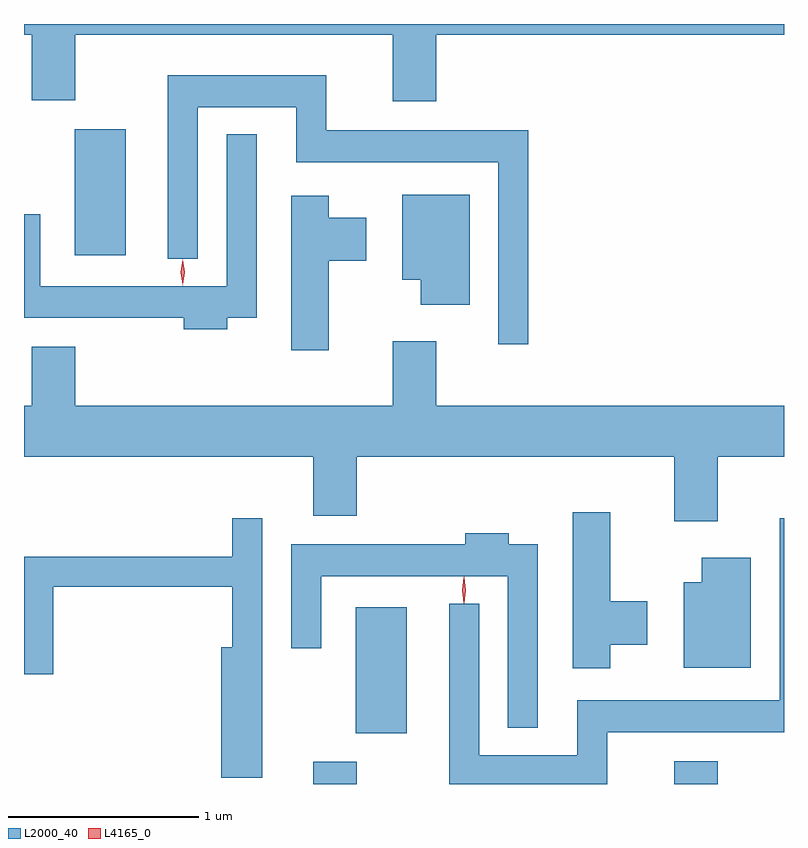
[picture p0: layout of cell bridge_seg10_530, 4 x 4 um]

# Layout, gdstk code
import gdstk
lib = gdstk.Library(unit=1e-6, precision=1e-09)
def R(c, l, rs):  # rectangles x0, y0, x1, y1
    for r in rs: c.add(gdstk.rectangle(r[:2], r[2:], *l))
def P(c, l, *ps):  # polygons
    for p in ps: c.add(gdstk.Polygon(p, *l))
L2000_40 = (2000, 40)
L4165_0 = (4165, 0)

bridge_seg10_530 = lib.new_cell('bridge_seg10_530')
R(bridge_seg10_530, L2000_40, [(768.191,2189.893,768.419,2190.009), (770.091,2189.893,770.319,2190.014), (768.416,2190.161,768.684,2190.824), (766.936,2192.676,767.204,2193.339)])
P(bridge_seg10_530, L2000_40, [(768.839,2193.836),(770.669,2193.836),(770.669,2193.893),(766.669,2193.893),(766.669,2193.836),(766.711,2193.836),(766.711,2193.491),(766.939,2193.491),(766.939,2193.836),(768.611,2193.836),(768.611,2193.486),(768.839,2193.486)],
  [(769.324,2193.334),(768.259,2193.334),(768.259,2193.624),(767.426,2193.624),(767.426,2192.658),(767.584,2192.658),(767.584,2193.456),(768.101,2193.456),(768.101,2193.166),(769.166,2193.166),(769.166,2192.208),(769.324,2192.208)],
  [(767.739,2192.346),(767.894,2192.346),(767.894,2193.313),(767.736,2193.313),(767.736,2192.514),(766.754,2192.514),(766.754,2192.893),(766.669,2192.893),(766.669,2192.346),(767.511,2192.346),(767.511,2192.286),(767.739,2192.286)],
  [(769.014,2192.994),(768.661,2192.994),(768.661,2192.546),(768.756,2192.546),(768.756,2192.416),(769.014,2192.416)],
  [(768.274,2192.646),(768.469,2192.646),(768.469,2192.874),(768.274,2192.874),(768.274,2192.989),(768.076,2192.989),(768.076,2192.176),(768.274,2192.176)],
  [(770.319,2191.616),(770.669,2191.616),(770.669,2191.884),(768.839,2191.884),(768.839,2192.224),(768.611,2192.224),(768.611,2191.884),(766.939,2191.884),(766.939,2192.194),(766.711,2192.194),(766.711,2191.884),(766.669,2191.884),(766.669,2191.616),(768.191,2191.616),(768.191,2191.306),(768.419,2191.306),(768.419,2191.616),(770.091,2191.616),(770.091,2191.276),(770.319,2191.276)],
  [(769.754,2190.626),(769.949,2190.626),(769.949,2190.854),(769.754,2190.854),(769.754,2191.324),(769.556,2191.324),(769.556,2190.501),(769.754,2190.501)],
  [(767.924,2191.293),(767.766,2191.293),(767.766,2191.089),(766.669,2191.089),(766.669,2190.471),(766.824,2190.471),(766.824,2190.931),(767.766,2190.931),(767.766,2190.614),(767.706,2190.614),(767.706,2189.926),(767.924,2189.926)],
  [(769.739,2190.166),(770.669,2190.166),(770.669,2191.293),(770.646,2191.293),(770.646,2190.334),(769.581,2190.334),(769.581,2190.044),(769.064,2190.044),(769.064,2190.843),(768.906,2190.843),(768.906,2189.893),(769.739,2189.893)],
  [(769.374,2191.154),(769.219,2191.154),(769.219,2191.214),(768.991,2191.214),(768.991,2191.154),(768.076,2191.154),(768.076,2190.608),(768.234,2190.608),(768.234,2190.986),(769.216,2190.986),(769.216,2190.188),(769.374,2190.188)],
  [(770.494,2191.084),(770.236,2191.084),(770.236,2190.954),(770.141,2190.954),(770.141,2190.506),(770.494,2190.506)])
P(bridge_seg10_530, L4165_0, [(768.985,2190.843),(768.984,2190.844),(768.975,2190.913),(768.984,2190.982),(768.985,2190.983),(768.985,2190.982),(768.995,2190.913),(768.985,2190.844)],
  [(767.505,2192.519),(767.504,2192.52),(767.495,2192.586),(767.504,2192.652),(767.505,2192.653),(767.505,2192.652),(767.515,2192.586),(767.505,2192.52)])

lib.write_gds('bridge_seg10_530.gds')
